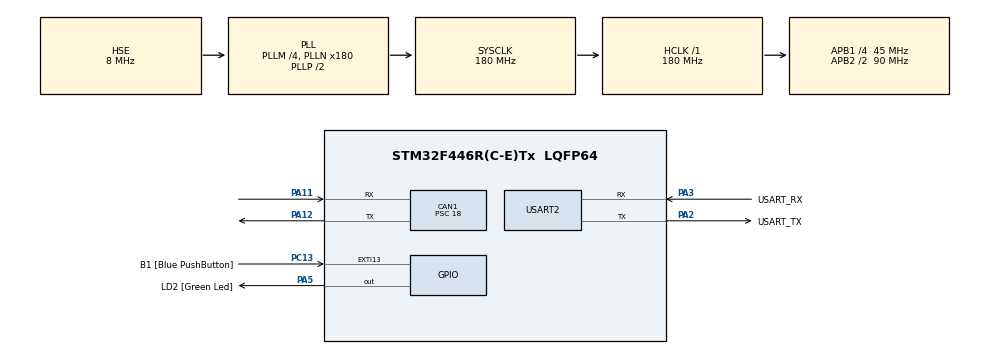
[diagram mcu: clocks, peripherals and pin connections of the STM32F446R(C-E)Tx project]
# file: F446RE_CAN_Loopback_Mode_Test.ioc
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CAN1.BS1=CAN_BS1_2TQ
CAN1.BS2=CAN_BS2_2TQ
CAN1.CalculateBaudRate=500000
CAN1.CalculateTimeBit=2000
CAN1.CalculateTimeQuantum=400.0
CAN1.Mode=CAN_MODE_LOOPBACK
CAN1.Prescaler=18
Mcu.Family=STM32F4
Mcu.Name=STM32F446R(C-E)Tx
Mcu.Package=LQFP64
NVIC.CAN1_RX0_IRQn=true\:0\:0\:false\:false\:true\:true\:true\:true
NVIC.CAN1_RX1_IRQn=true\:0\:0\:false\:false\:true\:true\:true\:true
NVIC.CAN1_SCE_IRQn=true\:0\:0\:false\:false\:true\:true\:true\:true
NVIC.CAN1_TX_IRQn=true\:0\:0\:false\:false\:true\:true\:true\:true
NVIC.EXTI15_10_IRQn=true\:0\:0\:false\:false\:true\:true\:true\:true
NVIC.PriorityGroup=NVIC_PRIORITYGROUP_0
PA11.Mode=CAN_Activate
PA11.Signal=CAN1_RX
PA12.Mode=CAN_Activate
PA12.Signal=CAN1_TX
PA13.GPIO_Label=TMS
PA13.Mode=Serial_Wire
PA13.Signal=SYS_JTMS-SWDIO
PA14.GPIO_Label=TCK
PA14.Mode=Serial_Wire
PA14.Signal=SYS_JTCK-SWCLK
PA2.GPIO_Label=USART_TX
PA2.Mode=Asynchronous
PA2.Signal=USART2_TX
PA3.GPIO_Label=USART_RX
PA3.Mode=Asynchronous
PA3.Signal=USART2_RX
PA5.GPIO_Label=LD2 [Green Led]
PA5.Signal=GPIO_Output
PB3.GPIO_Label=SWO
PB3.Signal=SYS_JTDO-SWO
PC13.GPIO_Label=B1 [Blue PushButton]
PC13.GPIO_ModeDefaultEXTI=GPIO_MODE_IT_FALLING
PC13.Signal=GPXTI13
PC14-OSC32_IN.Mode=LSE-External-Oscillator
PC14-OSC32_IN.Signal=RCC_OSC32_IN
PC15-OSC32_OUT.Mode=LSE-External-Oscillator
PC15-OSC32_OUT.Signal=RCC_OSC32_OUT
PH0-OSC_IN.Mode=HSE-External-Oscillator
PH0-OSC_IN.Signal=RCC_OSC_IN
PH1-OSC_OUT.Mode=HSE-External-Oscillator
PH1-OSC_OUT.Signal=RCC_OSC_OUT
ProjectManager.HeapSize=0x200
ProjectManager.StackSize=0x400
ProjectManager.TargetToolchain=STM32CubeIDE
RCC.48MHZClocksFreq_Value=84000000
RCC.AHBFreq_Value=180000000
RCC.APB1CLKDivider=RCC_HCLK_DIV4
RCC.APB1Freq_Value=45000000
RCC.APB1TimFreq_Value=90000000
RCC.APB2CLKDivider=RCC_HCLK_DIV2
RCC.APB2Freq_Value=90000000
RCC.APB2TimFreq_Value=180000000
RCC.CortexFreq_Value=180000000
RCC.FLatency-AdvancedSettings=FLASH_LATENCY_5
RCC.HCLKFreq_Value=180000000
RCC.HSE_VALUE=8000000
RCC.HSI_VALUE=16000000
RCC.PLLM=4
RCC.PLLN=180
RCC.PLLSourceVirtual=RCC_PLLSOURCE_HSE
RCC.SYSCLKFreq_VALUE=180000000
RCC.SYSCLKSource=RCC_SYSCLKSOURCE_PLLCLK
RCC.USBFreq_Value=180000000
RCC.VCOOutputFreq_Value=360000000
USART2.VirtualMode=VM_ASYNC
board=NUCLEO-F446RE

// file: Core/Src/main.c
/* USER CODE BEGIN Header */
/**
  ******************************************************************************
  * @file           : main.c
  * @brief          : Main program body
  ******************************************************************************
  * @attention
  *
  * Copyright (c) 2024 STMicroelectronics.
  * All rights reserved.
  *
  * This software is licensed under terms that can be found in the LICENSE file
  * in the root directory of this software component.
  * If no LICENSE file comes with this software, it is provided AS-IS.
  *
  ******************************************************************************
  */
/* USER CODE END Header */
#include "main.h"

/* USER CODE BEGIN Includes */
#include <stdio.h>
#include <string.h>
/* USER CODE END Includes */

CAN_HandleTypeDef hcan1;

UART_HandleTypeDef huart2;

void SystemClock_Config(void);
static void MX_GPIO_Init(void);
static void MX_USART2_UART_Init(void);
static void MX_CAN1_Init(void);

/* USER CODE BEGIN 0 */

CAN_TxHeaderTypeDef TxHearder;
CAN_RxHeaderTypeDef RxHearder;

uint8_t TxData[8] = "@ABCDEFG";
uint8_t RxData[8];

uint32_t TxMailBox;

void HAL_GPIO_EXTI_Callback(uint16_t GPIO_Pin) {

	if(GPIO_Pin == GPIO_PIN_13) {

		if(HAL_CAN_AddTxMessage(&hcan1, &TxHearder, TxData, &TxMailBox) == HAL_OK) {

			HAL_GPIO_TogglePin(LD2_GPIO_Port, LD2_Pin);;
		}

	}
}

void HAL_CAN_RxFifo0MsgPendingCallback(CAN_HandleTypeDef *hcan)
{
  if(HAL_CAN_GetRxMessage(hcan, CAN_RX_FIFO0, &RxHearder, RxData) == HAL_OK) {

  }
}
/* USER CODE END 0 */

int main(void)
{

  /* MCU Configuration--------------------------------------------------------*/

  /* Reset of all peripherals, Initializes the Flash interface and the Systick. */
  HAL_Init();

  /* Configure the system clock */
  SystemClock_Config();

  /* Initialize all configured peripherals */
  MX_GPIO_Init();
  MX_USART2_UART_Init();
  MX_CAN1_Init();
  /* USER CODE BEGIN 2 */

  HAL_CAN_Start(&hcan1);

  HAL_CAN_ActivateNotification(&hcan1, CAN_IT_RX_FIFO0_MSG_PENDING);

  TxHearder.DLC = 8;
  TxHearder.IDE = CAN_ID_STD;
  TxHearder.RTR = CAN_RTR_DATA;
  TxHearder.StdId = 0x123;
  TxHearder.TransmitGlobalTime = 10;

  /* USER CODE END 2 */

  /* Infinite loop */
  while (1)
  {

  }
}

void SystemClock_Config(void)
{
  RCC_OscInitTypeDef RCC_OscInitStruct = {0};
  RCC_ClkInitTypeDef RCC_ClkInitStruct = {0};

  /** Configure the main internal regulator output voltage
  */
  __HAL_RCC_PWR_CLK_ENABLE();
  __HAL_PWR_VOLTAGESCALING_CONFIG(PWR_REGULATOR_VOLTAGE_SCALE1);

  /** Initializes the RCC Oscillators according to the specified parameters
  * in the RCC_OscInitTypeDef structure.
  */
  RCC_OscInitStruct.OscillatorType = RCC_OSCILLATORTYPE_HSE;
  RCC_OscInitStruct.HSEState = RCC_HSE_ON;
  RCC_OscInitStruct.PLL.PLLState = RCC_PLL_ON;
  RCC_OscInitStruct.PLL.PLLSource = RCC_PLLSOURCE_HSE;
  RCC_OscInitStruct.PLL.PLLM = 4;
  RCC_OscInitStruct.PLL.PLLN = 180;
  RCC_OscInitStruct.PLL.PLLP = RCC_PLLP_DIV2;
  RCC_OscInitStruct.PLL.PLLQ = 2;
  RCC_OscInitStruct.PLL.PLLR = 2;
  if (HAL_RCC_OscConfig(&RCC_OscInitStruct) != HAL_OK)
  {
    Error_Handler();
  }

  /** Activate the Over-Drive mode
  */
  if (HAL_PWREx_EnableOverDrive() != HAL_OK)
  {
    Error_Handler();
  }

  /** Initializes the CPU, AHB and APB buses clocks
  */
  RCC_ClkInitStruct.ClockType = RCC_CLOCKTYPE_HCLK|RCC_CLOCKTYPE_SYSCLK
                              |RCC_CLOCKTYPE_PCLK1|RCC_CLOCKTYPE_PCLK2;
  RCC_ClkInitStruct.SYSCLKSource = RCC_SYSCLKSOURCE_PLLCLK;
  RCC_ClkInitStruct.AHBCLKDivider = RCC_SYSCLK_DIV1;
  RCC_ClkInitStruct.APB1CLKDivider = RCC_HCLK_DIV4;
  RCC_ClkInitStruct.APB2CLKDivider = RCC_HCLK_DIV2;

  if (HAL_RCC_ClockConfig(&RCC_ClkInitStruct, FLASH_LATENCY_5) != HAL_OK)
  {
    Error_Handler();
  }
}

static void MX_CAN1_Init(void)
{

  hcan1.Instance = CAN1;
  hcan1.Init.Prescaler = 18;
  hcan1.Init.Mode = CAN_MODE_LOOPBACK;
  hcan1.Init.SyncJumpWidth = CAN_SJW_1TQ;
  hcan1.Init.TimeSeg1 = CAN_BS1_2TQ;
  hcan1.Init.TimeSeg2 = CAN_BS2_2TQ;
  hcan1.Init.TimeTriggeredMode = DISABLE;
  hcan1.Init.AutoBusOff = DISABLE;
  hcan1.Init.AutoWakeUp = DISABLE;
  hcan1.Init.AutoRetransmission = DISABLE;
  hcan1.Init.ReceiveFifoLocked = DISABLE;
  hcan1.Init.TransmitFifoPriority = DISABLE;
  if (HAL_CAN_Init(&hcan1) != HAL_OK)
  {
    Error_Handler();
  }
  /* USER CODE BEGIN CAN1_Init 2 */

  CAN_FilterTypeDef FilterConfig;

  FilterConfig.FilterActivation = CAN_FILTER_ENABLE;
  FilterConfig.FilterBank = 14;
  FilterConfig.FilterFIFOAssignment = CAN_RX_FIFO0;
  FilterConfig.FilterIdHigh = 0x000;
  FilterConfig.FilterIdLow = 0;
  FilterConfig.FilterMaskIdHigh = 0x000;
  FilterConfig.FilterMaskIdLow = 0;
  FilterConfig.FilterMode = CAN_FILTERMODE_IDMASK;
  FilterConfig.FilterScale = CAN_FILTERSCALE_32BIT;
  FilterConfig.SlaveStartFilterBank = 10;

  HAL_CAN_ConfigFilter(&hcan1, &FilterConfig);

  /* USER CODE END CAN1_Init 2 */

}

static void MX_USART2_UART_Init(void)
{

  huart2.Instance = USART2;
  huart2.Init.BaudRate = 115200;
  huart2.Init.WordLength = UART_WORDLENGTH_8B;
  huart2.Init.StopBits = UART_STOPBITS_1;
  huart2.Init.Parity = UART_PARITY_NONE;
  huart2.Init.Mode = UART_MODE_TX_RX;
  huart2.Init.HwFlowCtl = UART_HWCONTROL_NONE;
  huart2.Init.OverSampling = UART_OVERSAMPLING_16;
  if (HAL_UART_Init(&huart2) != HAL_OK)
  {
    Error_Handler();
  }

}

static void MX_GPIO_Init(void)
{
  GPIO_InitTypeDef GPIO_InitStruct = {0};

  /* GPIO Ports Clock Enable */
  __HAL_RCC_GPIOC_CLK_ENABLE();
  __HAL_RCC_GPIOH_CLK_ENABLE();
  __HAL_RCC_GPIOA_CLK_ENABLE();
  __HAL_RCC_GPIOB_CLK_ENABLE();

  /*Configure GPIO pin Output Level */
  HAL_GPIO_WritePin(LD2_GPIO_Port, LD2_Pin, GPIO_PIN_RESET);

  /*Configure GPIO pin : B1_Pin */
  GPIO_InitStruct.Pin = B1_Pin;
  GPIO_InitStruct.Mode = GPIO_MODE_IT_FALLING;
  GPIO_InitStruct.Pull = GPIO_NOPULL;
  HAL_GPIO_Init(B1_GPIO_Port, &GPIO_InitStruct);

  /*Configure GPIO pin : LD2_Pin */
  GPIO_InitStruct.Pin = LD2_Pin;
  GPIO_InitStruct.Mode = GPIO_MODE_OUTPUT_PP;
  GPIO_InitStruct.Pull = GPIO_NOPULL;
  GPIO_InitStruct.Speed = GPIO_SPEED_FREQ_LOW;
  HAL_GPIO_Init(LD2_GPIO_Port, &GPIO_InitStruct);

  /* EXTI interrupt init*/
  HAL_NVIC_SetPriority(EXTI15_10_IRQn, 0, 0);
  HAL_NVIC_EnableIRQ(EXTI15_10_IRQn);

}

void Error_Handler(void)
{
  __disable_irq();
  while (1)
  {
  }
}
